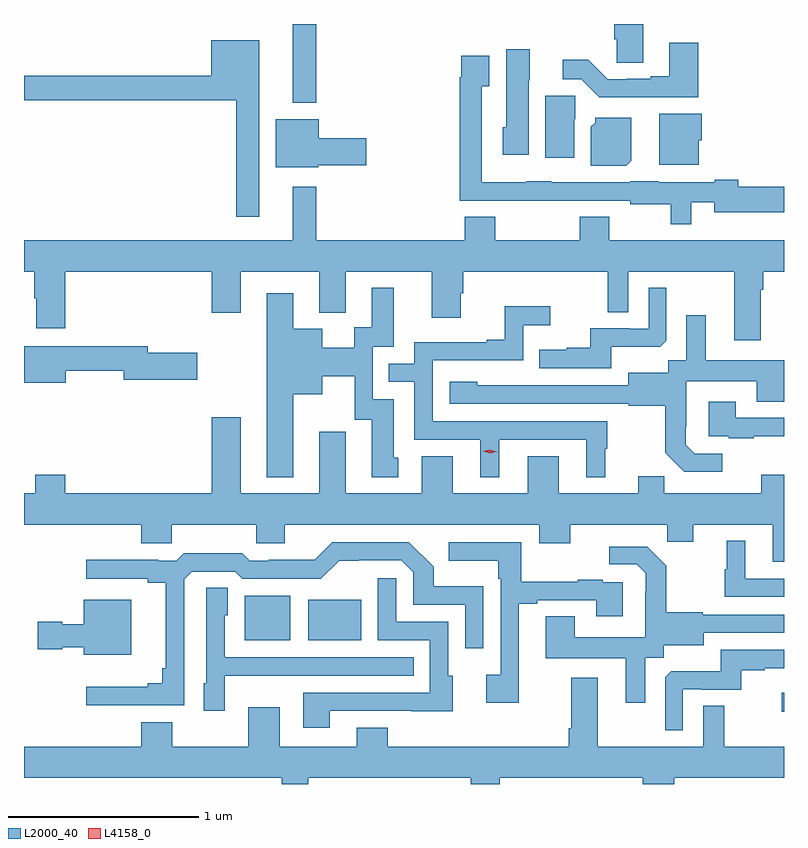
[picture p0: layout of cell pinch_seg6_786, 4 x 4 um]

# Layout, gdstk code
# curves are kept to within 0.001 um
import gdstk
lib = gdstk.Library(unit=1e-6, precision=1e-09)
def R(c, l, rs):  # rectangles x0, y0, x1, y1
    for r in rs: c.add(gdstk.rectangle(r[:2], r[2:], *l))
def P(c, l, *ps):  # polygons
    for p in ps: c.add(gdstk.Polygon(p, *l))
L2000_40 = (2000, 40)
L4158_0 = (4158, 0)

pinch_seg6_786 = lib.new_cell('pinch_seg6_786')
R(pinch_seg6_786, L2000_40, [(221.643,971.66,221.656,971.758), (218.819,972.035,219.058,972.271), (219.152,972.035,219.43,972.25), (219.071,974.864,219.193,975.279)])
P(pinch_seg6_786, L2000_40, [(220.915,975.279),(220.763,975.279),(220.763,975.198),(220.776,975.198),(220.776,975.076),(220.915,975.076)],
  [(218.893,975.193),(218.642,975.193),(218.642,975.007),(217.656,975.007),(217.656,974.878),(218.772,974.878),(218.772,974.265),(218.893,974.265)],
  [(221.204,975.181),(221.051,975.181),(221.051,975.004),(220.955,975.004),(220.955,974.991),(220.828,974.991),(220.828,974.988),(220.728,974.988),(220.626,975.091),(220.491,975.091),(220.491,974.988),(220.59,974.988),(220.684,974.894),(221.204,974.894)],
  [(220.312,974.982),(220.318,974.982),(220.318,975.145),(220.193,975.145),(220.193,974.736),(220.175,974.736),(220.175,974.592),(220.312,974.592)],
  [(221.169,974.342),(221.288,974.342),(221.288,974.288),(221.656,974.288),(221.656,974.423),(221.416,974.423),(221.416,974.459),(221.292,974.459),(221.292,974.446),(220.998,974.446),(220.998,974.452),(220.848,974.452),(220.848,974.445),(220.431,974.445),(220.431,974.452),(220.299,974.452),(220.299,974.446),(220.065,974.446),(220.065,974.951),(220.105,974.951),(220.105,975.112),(219.957,975.112),(219.957,974.999),(219.949,974.999),(219.949,974.349),(220.199,974.349),(220.199,974.348),(220.431,974.348),(220.431,974.349),(220.848,974.349),(220.848,974.33),(221.061,974.33),(221.061,974.225),(221.169,974.225)],
  [(220.552,974.778),(220.556,974.778),(220.556,974.901),(220.4,974.901),(220.4,974.574),(220.552,974.574)],
  [(221.206,974.667),(221.224,974.667),(221.224,974.806),(221,974.806),(221,974.537),(221.206,974.537)],
  [(220.852,974.56),(220.852,974.785),(220.662,974.785),(220.662,974.76),(220.64,974.738),(220.64,974.534),(220.826,974.534)],
  [(219.204,974.536),(219.457,974.536),(219.457,974.678),(219.208,974.678),(219.208,974.779),(218.981,974.779),(218.981,974.525),(219.204,974.525)],
  [(219.977,974.264),(219.977,974.14),(219.193,974.14),(219.193,974.422),(219.071,974.422),(219.071,974.14),(217.656,974.14),(217.656,973.976),(217.709,973.976),(217.709,973.835),(217.721,973.835),(217.721,973.677),(217.874,973.677),(217.874,973.976),(218.645,973.976),(218.645,973.758),(218.797,973.758),(218.797,973.976),(219.209,973.976),(219.209,973.76),(219.349,973.76),(219.349,973.976),(219.803,973.976),(219.803,973.734),(219.955,973.734),(219.955,973.863),(219.968,973.863),(219.968,973.976),(220.728,973.976),(220.728,973.762),(220.836,973.762),(220.836,973.976),(221.393,973.976),(221.393,973.614),(221.533,973.614),(221.533,973.88),(221.546,973.88),(221.546,973.976),(221.656,973.976),(221.656,974.14),(220.737,974.14),(220.737,974.264),(220.582,974.264),(220.582,974.14),(220.137,974.14),(220.137,974.264)],
  [(220.747,973.58),(221.005,973.58),(221.037,973.611),(221.037,973.891),(220.944,973.891),(220.944,973.674),(220.844,973.674),(220.844,973.677),(220.637,973.677),(220.637,973.576),(220.513,973.576),(220.513,973.564),(220.369,973.564),(220.369,973.467),(220.747,973.467)],
  [(219.073,973.331),(219.226,973.331),(219.226,973.424),(219.396,973.424),(219.396,973.197),(219.485,973.197),(219.485,972.894),(219.625,972.894),(219.625,972.996),(219.601,972.996),(219.601,973.305),(219.492,973.305),(219.492,973.581),(219.601,973.581),(219.601,973.891),(219.485,973.891),(219.485,973.682),(219.395,973.682),(219.395,973.576),(219.226,973.576),(219.226,973.675),(219.073,973.675),(219.073,973.861),(218.933,973.861),(218.933,972.893),(219.073,972.893)],
  [(220.156,973.092),(220.616,973.092),(220.616,972.893),(220.714,972.893),(220.714,973.044),(220.726,973.044),(220.726,973.188),(219.807,973.188),(219.807,973.509),(220.284,973.509),(220.284,973.694),(220.426,973.694),(220.426,973.793),(220.186,973.793),(220.186,973.618),(220.091,973.618),(220.091,973.605),(219.711,973.605),(219.711,973.491),(219.577,973.491),(219.577,973.395),(219.711,973.395),(219.711,973.092),(220.058,973.092),(220.058,972.893),(220.156,972.893)],
  [(221.332,973.017),(221.187,973.017),(221.14,973.064),(221.14,973.159),(221.142,973.159),(221.142,973.4),(221.513,973.4),(221.513,973.291),(221.656,973.291),(221.656,973.51),(221.245,973.51),(221.245,973.747),(221.141,973.747),(221.141,973.508),(221.046,973.508),(221.046,973.444),(220.835,973.444),(220.835,973.377),(220.041,973.378),(220.041,973.396),(219.897,973.396),(219.897,973.281),(220.839,973.281),(220.839,973.269),(221.031,973.269),(221.031,973.023),(221.131,972.923),(221.332,972.923)],
  [(217.876,973.453),(218.18,973.453),(218.18,973.406),(218.569,973.406),(218.569,973.548),(218.308,973.548),(218.308,973.582),(217.656,973.582),(217.656,973.391),(217.876,973.391)],
  [(221.497,973.109),(221.656,973.109),(221.656,973.206),(221.401,973.206),(221.401,973.291),(221.261,973.291),(221.261,973.11),(221.365,973.11),(221.365,973.098),(221.497,973.098)],
  [(221.656,972.907),(221.537,972.907),(221.537,972.808),(221.027,972.808),(221.027,972.899),(220.889,972.899),(220.889,972.808),(220.471,972.808),(220.471,973.003),(220.307,973.003),(220.307,972.808),(219.913,972.808),(219.913,973.003),(219.749,973.003),(219.749,972.808),(219.349,972.808),(219.349,973.132),(219.209,973.132),(219.209,972.808),(218.797,972.808),(218.797,973.21),(218.645,973.21),(218.645,972.808),(217.874,972.808),(217.874,972.907),(217.714,972.907),(217.714,972.808),(217.656,972.808),(217.656,972.644),(218.273,972.644),(218.273,972.546),(218.433,972.546),(218.433,972.644),(218.878,972.644),(218.878,972.546),(219.028,972.546),(219.028,972.644),(220.367,972.644),(220.367,972.545),(220.531,972.545),(220.531,972.644),(221.041,972.644),(221.041,972.554),(221.179,972.554),(221.179,972.644),(221.597,972.644),(221.597,972.45),(221.656,972.45)],
  [(221.656,972.36),(221.452,972.36),(221.452,972.559),(221.354,972.559),(221.354,972.408),(221.343,972.408),(221.343,972.264),(221.656,972.264)],
  [(218.499,972.357),(218.538,972.396),(218.769,972.396),(218.805,972.36),(219.219,972.36),(219.314,972.455),(219.642,972.456),(219.705,972.393),(219.705,972.222),(219.978,972.222),(219.978,971.994),(220.074,971.994),(220.074,972.319),(219.813,972.319),(219.813,972.422),(219.682,972.552),(219.279,972.552),(219.185,972.458),(218.944,972.458),(218.944,972.453),(218.844,972.453),(218.805,972.493),(218.497,972.493),(218.457,972.453),(218.363,972.453),(218.363,972.458),(217.983,972.458),(217.983,972.36),(218.306,972.36),(218.306,972.338),(218.402,972.338),(218.402,971.887),(218.383,971.887),(218.383,971.81),(218.306,971.81),(218.306,971.791),(217.983,971.791),(217.983,971.694),(218.499,971.694)],
  [(220.261,972.228),(220.357,972.228),(220.357,972.246),(220.667,972.246),(220.667,972.162),(220.807,972.162),(220.807,972.342),(220.703,972.342),(220.703,972.355),(220.571,972.355),(220.571,972.344),(220.273,972.344),(220.273,972.552),(219.891,972.552),(219.891,972.455),(220.152,972.455),(220.152,972.359),(220.164,972.359),(220.164,971.854),(220.089,971.854),(220.089,971.706),(220.261,971.706)],
  [(220.927,971.944),(221.022,971.944),(221.022,972.008),(221.233,972.008),(221.233,972.075),(221.656,972.075),(221.656,972.171),(221.229,972.171),(221.229,972.184),(221.037,972.184),(221.037,972.429),(220.937,972.529),(220.737,972.529),(220.737,972.435),(220.881,972.435),(220.928,972.388),(220.928,972.293),(220.926,972.293),(220.926,972.052),(220.555,972.052),(220.555,972.161),(220.403,972.161),(220.403,971.942),(220.823,971.942),(220.823,971.706),(220.927,971.706)],
  [(219.265,971.664),(219.695,971.664),(219.695,971.663),(219.913,971.663),(219.913,971.85),(219.888,971.85),(219.888,972.132),(219.615,972.132),(219.615,972.361),(219.519,972.361),(219.519,972.036),(219.792,972.036),(219.792,971.76),(219.125,971.76),(219.125,971.574),(219.265,971.574)],
  [(218.712,971.849),(219.029,971.849),(219.029,971.85),(219.707,971.85),(219.707,971.946),(218.712,971.946),(218.712,972.168),(218.728,972.168),(218.728,972.311),(218.616,972.311),(218.616,971.808),(218.603,971.808),(218.603,971.664),(218.712,971.664)],
  [(218.221,972.25),(217.97,972.25),(217.97,972.121),(217.857,972.121),(217.857,972.134),(217.728,972.134),(217.728,971.987),(217.857,971.987),(217.857,971.999),(217.97,971.999),(217.97,971.96),(218.221,971.96)],
  [(221.124,971.778),(221.224,971.778),(221.224,971.775),(221.432,971.775),(221.432,971.877),(221.555,971.877),(221.555,971.888),(221.656,971.888),(221.656,971.985),(221.322,971.985),(221.322,971.873),(221.063,971.873),(221.031,971.841),(221.031,971.561),(221.124,971.561)],
  [(219.012,971.279),(219.151,971.279),(219.151,971.312),(220.007,971.312),(220.007,971.279),(220.16,971.279),(220.16,971.312),(220.913,971.312),(220.913,971.279),(221.078,971.279),(221.078,971.312),(221.656,971.312),(221.656,971.476),(221.341,971.476),(221.341,971.69),(221.232,971.69),(221.232,971.476),(220.675,971.476),(220.675,971.839),(220.535,971.839),(220.535,971.572),(220.523,971.572),(220.523,971.476),(219.571,971.476),(219.571,971.575),(219.407,971.575),(219.407,971.476),(219.001,971.476),(219.001,971.683),(218.837,971.683),(218.837,971.476),(218.437,971.476),(218.437,971.605),(218.273,971.605),(218.273,971.476),(217.656,971.476),(217.656,971.312),(219.012,971.312)])
P(pinch_seg6_786, L4158_0, [(220.107,973.019),(220.071,973.03),(220.071,973.03),(220.071,973.03),(220.107,973.039),(220.143,973.029),(220.143,973.028),(220.143,973.028)])

lib.write_gds('pinch_seg6_786.gds')
